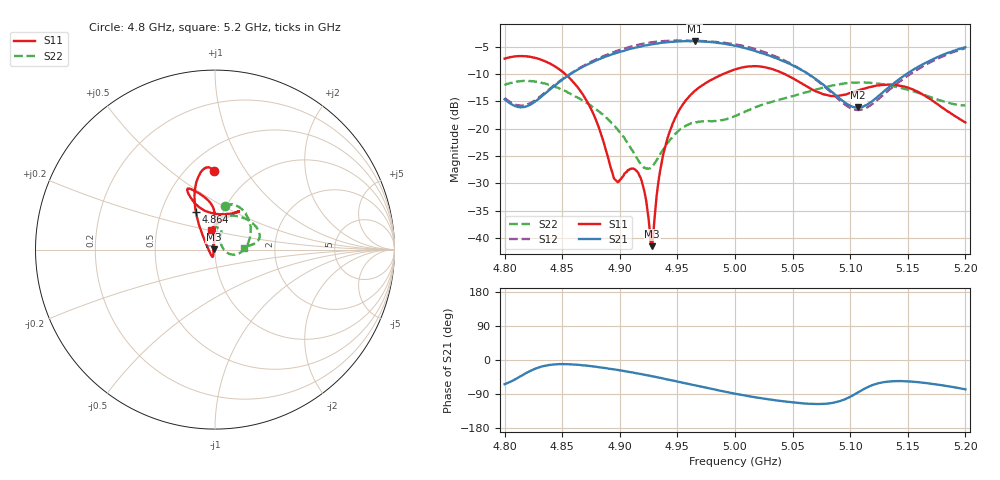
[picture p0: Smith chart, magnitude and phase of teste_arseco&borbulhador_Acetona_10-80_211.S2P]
! Network Analyzer HP8722D
! Hewlett-Packard
! Data name: Linha & Wilkinson
! Saver's name: Rodrigo Anjos
! Comments: Teste da utilização de aquisição
! continua pelo VNA HP8722D
! Time and date: 25/4/2025 17:01
!  Frequency  S11  S21  S12  S22
# HZ  S  MA R 50
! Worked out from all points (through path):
!   401 points, 4.8 GHz to 5.2 GHz, reference 50 ohm
!   highest |S21| = -3.99 dB at 4.965 GHz (marker M1); lowest = -16.1 dB at 5.107 GHz (marker M2)
!   lowest |S11| = -41.5 dB at 4.928 GHz (marker M3), VSWR 1.02, Z = 49.2 + j0.159 ohm
!   |S11| at or under -10 dB: 4.852 GHz to 4.99 GHz (137.4 MHz wide, 2.79 % of centre); 5.043 GHz to end of sweep
!   |S22| runs from -27.4 to -11.3 dB; largest |S21 - S12| = 1.2
!   S11 on the Smith chart (normalised r, x): 4.8 GHz: 0.67, +0.72; 4.864 GHz: 0.75, +0.33; 5.2 GHz: 0.93, +0.21
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4.8e9  0.4356 90.9  0.1851 -63.8  0.1902 69.8  0.2483 76.9
4.82e9  0.4553 97.2  0.161 -32.4  0.1668 98.5  0.2735 61.4
4.844e9  0.3684 107.2  0.2493 -11.5  0.2532 119.2  0.2397 35.5
4.864e9  0.2344 117.0  0.349 -12.6  0.3517 121.0  0.1901 12.4
4.867e9  0.2116 118.8  0.3624 -13.8  0.3672 120.7  0.183 8.9
4.88e9  0.1147 128.8  0.4214 -18.3  0.4318 118.4  0.1484 -4.9
4.896e9  0.03406 -170.3  0.4871 -25.0  0.5063 113.3  0.1044 -15.5
4.91e9  0.04299 -109.7  0.5379 -32.2  0.5624 107.3  0.06488 -13.0
4.917e9  0.03722 -107.0  0.5606 -36.3  0.5876 103.6  0.04922 0.1
4.921e9  0.02754 -111.5  0.5731 -38.7  0.5979 101.4  0.0437 13.4
4.928e9  0.008416 169.0  0.5903 -42.7  0.6159 97.1  0.0449 40.9
4.934e9  0.03528 101.0  0.6032 -46.7  0.628 93.4  0.05571 58.0
4.939e9  0.06566 93.9  0.6123 -49.7  0.633 90.1  0.06776 65.2
4.946e9  0.1116 90.6  0.6212 -54.4  0.6364 85.7  0.0851 69.0
4.965e9  0.2203 91.4  0.6319 -66.9  0.6352 73.4  0.1136 71.1
5e9  0.3476 109.3  0.5721 -89.0  0.5904 50.8  0.1302 88.1
5.031e9  0.3535 115.3  0.46 -104.6  0.4747 33.4  0.1744 84.5
5.067e9  0.2276 105.7  0.2997 -115.9  0.2972 23.6  0.2221 57.0
5.107e9  0.2229 64.7  0.156 -85.2  0.1476 58.0  0.264 24.1
5.134e9  0.2523 58.0  0.2412 -56.7  0.2265 88.7  0.2481 12.3
5.169e9  0.1874 70.8  0.4175 -61.9  0.4009 84.9  0.1952 6.9
5.2e9  0.1139 101.0  0.5548 -77.5  0.5433 70.2  0.1623 3.6
